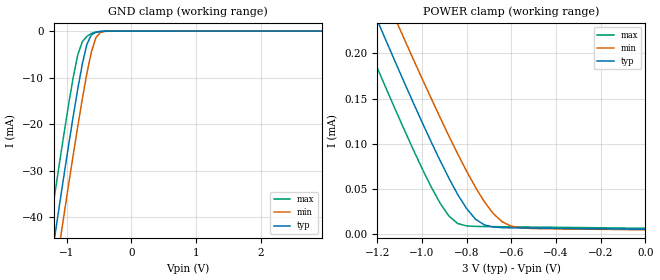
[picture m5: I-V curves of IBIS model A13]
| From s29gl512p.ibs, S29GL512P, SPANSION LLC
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|   Model A13
[Model]  A13
Model_type Input
Vinl =   0.9000V
Vinh =   2.1000V
C_comp   2.0000pF   2.0000pF   2.0000pF
[Temperature Range]   25.0000   85.0000   -40.0000
[Pullup Reference]   3.0000V   2.7000V   3.6000V
[Pulldown Reference]   0.0V   0.0V   0.0V
[POWER Clamp Reference]   3.0000V   2.7000V   3.6000V
[GND Clamp Reference]   0.0V   0.0V   0.0V
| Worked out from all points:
|   GND clamp passes 1 mA (typ) near -0.63 V on its own axis
|   POWER clamp passes 1 mA (typ) near -2.48 V on its own axis
[GND_clamp]
|Voltage   I(typ)   I(min)   I(max)
-3V       -219.5mA   -227.7mA   -210.8mA
-1.32V    -56.81mA   -65.36mA   -47.72mA
-1.25V    -50.21mA   -58.77mA   -41.12mA
-1.18V    -43.65mA   -52.21mA   -34.58mA
-1.11V    -37.15mA   -45.7mA    -28.12mA
-1.04V    -30.73mA   -39.25mA   -21.79mA
-830mV    -12.43mA   -20.51mA   -5.135mA
-690mV    -2.899mA   -9.21mA    -1.141mA
-620mV    -798.7uA   -4.547mA   -503.9uA
-550mV    -245.3uA   -1.425mA   -180.7uA
-410mV    -32.07uA   -60.5uA    -19.22uA
2.95V     5.571uA    5.787uA    5.15uA
[POWER_clamp]
|Voltage   I(typ)   I(min)   I(max)
-3V       1.316mA    1.341mA    1.27mA
-1.28V    283.2uA    329.3uA    230.8uA
-1.2V     236.9uA    283.9uA    184.3uA
-1.16V    213.9uA    261.3uA    161.4uA
-1.12V    191.2uA    238.9uA    138.7uA
-1.08V    168.6uA    216.6uA    116.4uA
-960mV    103.1uA    151.2uA    53.26uA
-880mV    62.54uA    109.2uA    20.58uA
-760mV    16.85uA    51.99uA    8.889uA
-640mV    7.518uA    13.85uA    8.504uA
-520mV    7.055uA    6.7uA      8.192uA
0V        5.701uA    5.137uA    6.84uA
